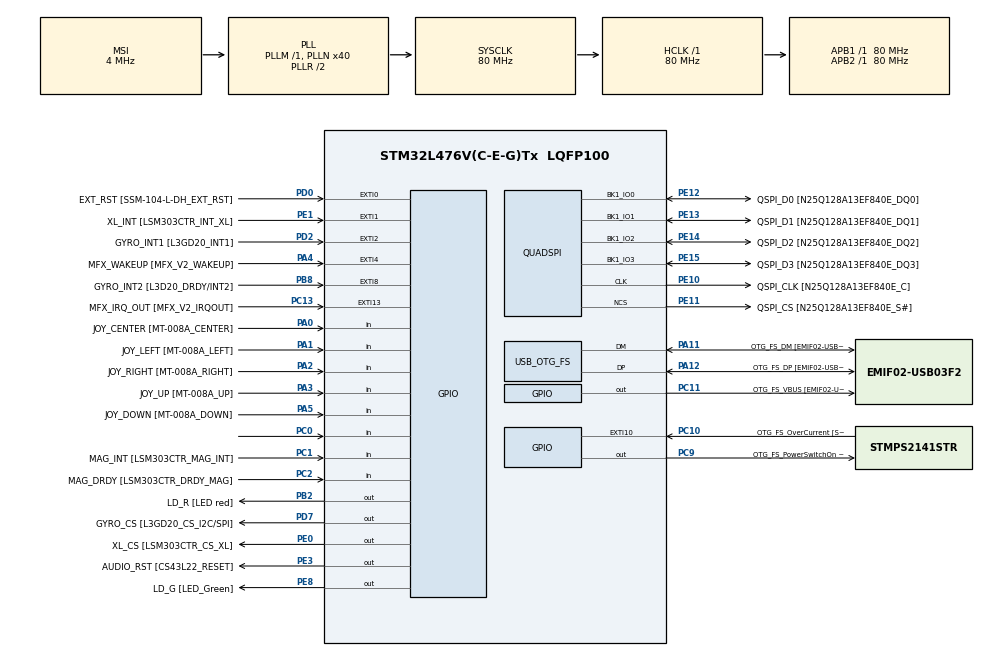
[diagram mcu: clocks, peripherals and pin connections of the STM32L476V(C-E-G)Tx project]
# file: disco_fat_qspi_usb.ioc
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Dma.QUADSPI.0.Direction=DMA_PERIPH_TO_MEMORY
Dma.QUADSPI.0.Instance=DMA1_Channel5
Dma.QUADSPI.0.MemDataAlignment=DMA_MDATAALIGN_WORD
Dma.QUADSPI.0.MemInc=DMA_MINC_ENABLE
Dma.QUADSPI.0.Mode=DMA_NORMAL
Dma.QUADSPI.0.PeriphDataAlignment=DMA_PDATAALIGN_WORD
Dma.QUADSPI.0.PeriphInc=DMA_PINC_DISABLE
Dma.QUADSPI.0.Priority=DMA_PRIORITY_LOW
Dma.Request0=QUADSPI
FATFS._MAX_SS=4096
FATFS._MIN_SS=4096
FATFS._USE_FASTSEEK=0
Mcu.Family=STM32L4
Mcu.Name=STM32L476V(C-E-G)Tx
Mcu.Package=LQFP100
NVIC.DMA1_Channel5_IRQn=true\:0\:0\:false\:false\:true
NVIC.OTG_FS_IRQn=true\:10\:0\:true\:false\:true
NVIC.PriorityGroup=NVIC_PRIORITYGROUP_4
NVIC.QUADSPI_IRQn=true\:1\:0\:true\:false\:true
PA0.GPIO_Label=JOY_CENTER [MT-008A_CENTER]
PA0.GPIO_Mode=GPIO_MODE_INPUT
PA0.GPIO_PuPd=GPIO_PULLDOWN
PA0.Signal=GPIO_Input
PA1.GPIO_Label=JOY_LEFT [MT-008A_LEFT]
PA1.GPIO_Mode=GPIO_MODE_INPUT
PA1.GPIO_PuPd=GPIO_PULLDOWN
PA1.Signal=GPIO_Input
PA10.GPIO_Label=COM2 [GH08172T_COM2]
PA10.GPIO_Mode=GPIO_MODE_AF_PP
PA10.GPIO_PuPd=GPIO_NOPULL
PA10.GPIO_Speed=GPIO_SPEED_FREQ_LOW
PA10.Signal=LCD_COM2
PA11.GPIO_Label=OTG_FS_DM [EMIF02-USB03F2_D-out]
PA11.GPIO_Mode=GPIO_MODE_AF_PP
PA11.GPIO_PuPd=GPIO_NOPULL
PA11.GPIO_Speed=GPIO_SPEED_FREQ_VERY_HIGH
PA11.Mode=Device_Only
PA11.Signal=USB_OTG_FS_DM
PA12.GPIO_Label=OTG_FS_DP [EMIF02-USB03F2_D+out]
PA12.GPIO_Mode=GPIO_MODE_AF_PP
PA12.GPIO_PuPd=GPIO_NOPULL
PA12.GPIO_Speed=GPIO_SPEED_FREQ_VERY_HIGH
PA12.Mode=Device_Only
PA12.Signal=USB_OTG_FS_DP
PA13\ (JTMS-SWDIO).GPIO_Label=SWDIO
PA13\ (JTMS-SWDIO).Mode=Trace_Asynchronous_SW
PA13\ (JTMS-SWDIO).Signal=SYS_JTMS-SWDIO
PA14\ (JTCK-SWCLK).GPIO_Label=SWCLK
PA14\ (JTCK-SWCLK).Mode=Trace_Asynchronous_SW
PA14\ (JTCK-SWCLK).Signal=SYS_JTCK-SWCLK
PA15\ (JTDI).GPIO_Label=SEG10 [GH08172T_SEG10]
PA15\ (JTDI).GPIO_Mode=GPIO_MODE_AF_PP
PA15\ (JTDI).GPIO_PuPd=GPIO_NOPULL
PA15\ (JTDI).GPIO_Speed=GPIO_SPEED_FREQ_LOW
PA15\ (JTDI).Signal=LCD_SEG17
PA2.GPIO_Label=JOY_RIGHT [MT-008A_RIGHT]
PA2.GPIO_Mode=GPIO_MODE_INPUT
PA2.GPIO_PuPd=GPIO_PULLDOWN
PA2.Signal=GPIO_Input
PA3.GPIO_Label=JOY_UP [MT-008A_UP]
PA3.GPIO_Mode=GPIO_MODE_INPUT
PA3.GPIO_PuPd=GPIO_PULLDOWN
PA3.Signal=GPIO_Input
PA4.GPIO_Label=MFX_WAKEUP [MFX_V2_WAKEUP]
PA4.GPIO_ModeDefaultEXTI=GPIO_MODE_EVT_RISING
PA4.GPIO_PuPd=GPIO_NOPULL
PA4.Signal=GPXTI4
PA5.GPIO_Label=JOY_DOWN [MT-008A_DOWN]
PA5.GPIO_Mode=GPIO_MODE_INPUT
PA5.GPIO_PuPd=GPIO_PULLDOWN
PA5.Signal=GPIO_Input
PA6.GPIO_Label=SEG23 [GH08172T_SEG23]
PA6.GPIO_Mode=GPIO_MODE_AF_PP
PA6.GPIO_PuPd=GPIO_NOPULL
PA6.GPIO_Speed=GPIO_SPEED_FREQ_LOW
PA6.Signal=LCD_SEG3
PA7.GPIO_Label=SEG0 [GH08172T_SEG0]
PA7.GPIO_Mode=GPIO_MODE_AF_PP
PA7.GPIO_PuPd=GPIO_NOPULL
PA7.GPIO_Speed=GPIO_SPEED_FREQ_LOW
PA7.Signal=LCD_SEG4
PA8.GPIO_Label=COM0 [GH08172T_COM0]
PA8.GPIO_Mode=GPIO_MODE_AF_PP
PA8.GPIO_PuPd=GPIO_NOPULL
PA8.GPIO_Speed=GPIO_SPEED_FREQ_LOW
PA8.Signal=LCD_COM0
PA9.GPIO_Label=COM1 [GH08172T_COM1]
PA9.GPIO_Mode=GPIO_MODE_AF_PP
PA9.GPIO_PuPd=GPIO_NOPULL
PA9.GPIO_Speed=GPIO_SPEED_FREQ_LOW
PA9.Signal=LCD_COM1
PB0.GPIO_Label=SEG21 [GH08172T_SEG21]
PB0.GPIO_Mode=GPIO_MODE_AF_PP
PB0.GPIO_PuPd=GPIO_NOPULL
PB0.GPIO_Speed=GPIO_SPEED_FREQ_LOW
PB0.Signal=LCD_SEG5
PB1.GPIO_Label=SEG2 [GH08172T_SEG2]
PB1.GPIO_Mode=GPIO_MODE_AF_PP
PB1.GPIO_PuPd=GPIO_NOPULL
PB1.GPIO_Speed=GPIO_SPEED_FREQ_LOW
PB1.Signal=LCD_SEG6
PB10.GPIO_Label=MFX_I2C_SLC [MFX_V2_I2C_SCL]
PB10.GPIO_Mode=GPIO_MODE_AF_OD
PB10.GPIO_PuPdOD=GPIO_PULLUP
PB10.GPIO_Speed=GPIO_SPEED_FREQ_VERY_HIGH
PB10.Signal=I2C2_SCL
PB11.GPIO_Label=MFX_I2C_SDA [MFX_V2_I2C_SDA]
PB11.GPIO_Mode=GPIO_MODE_AF_OD
PB11.GPIO_PuPdOD=GPIO_PULLUP
PB11.GPIO_Speed=GPIO_SPEED_FREQ_VERY_HIGH
PB11.Signal=I2C2_SDA
PB12.GPIO_Label=SEG20 [GH08172T_SEG20]
PB12.GPIO_Mode=GPIO_MODE_AF_PP
PB12.GPIO_PuPd=GPIO_NOPULL
PB12.GPIO_Speed=GPIO_SPEED_FREQ_LOW
PB12.Signal=LCD_SEG12
PB13.GPIO_Label=SEG3 [GH08172T_SEG3]
PB13.GPIO_Mode=GPIO_MODE_AF_PP
PB13.GPIO_PuPd=GPIO_NOPULL
PB13.GPIO_Speed=GPIO_SPEED_FREQ_LOW
PB13.Signal=LCD_SEG13
PB14.GPIO_Label=SEG19 [GH08172T_SEG19]
PB14.GPIO_Mode=GPIO_MODE_AF_PP
PB14.GPIO_PuPd=GPIO_NOPULL
PB14.GPIO_Speed=GPIO_SPEED_FREQ_LOW
PB14.Signal=LCD_SEG14
PB15.GPIO_Label=SEG4 [GH08172T_SEG4]
PB15.GPIO_Mode=GPIO_MODE_AF_PP
PB15.GPIO_PuPd=GPIO_NOPULL
PB15.GPIO_Speed=GPIO_SPEED_FREQ_LOW
PB15.Signal=LCD_SEG15
PB2.GPIO_Label=LD_R [LED red]
PB2.GPIO_ModeDefaultOutputPP=GPIO_MODE_OUTPUT_PP
PB2.GPIO_PuPd=GPIO_PULLUP
PB2.GPIO_Speed=GPIO_SPEED_FREQ_VERY_HIGH
PB2.Signal=GPIO_Output
PB3\ (JTDO-TRACESWO).Mode=Trace_Asynchronous_SW
PB3\ (JTDO-TRACESWO).Signal=SYS_JTDO-SWO
PB4\ (NJTRST).GPIO_Label=SEG11 [GH08172T_SEG11]
PB4\ (NJTRST).GPIO_Mode=GPIO_MODE_AF_PP
PB4\ (NJTRST).GPIO_PuPd=GPIO_NOPULL
PB4\ (NJTRST).GPIO_Speed=GPIO_SPEED_FREQ_LOW
PB4\ (NJTRST).Signal=LCD_SEG8
PB5.GPIO_Label=SEG12 [GH08172T_SEG12]
PB5.GPIO_Mode=GPIO_MODE_AF_PP
PB5.GPIO_PuPd=GPIO_NOPULL
PB5.GPIO_Speed=GPIO_SPEED_FREQ_LOW
PB5.Signal=LCD_SEG9
PB6.GPIO_FM6=__NULL
PB6.GPIO_Label=I2C1_SCL [SSM-104-L-DH_SCL]
PB6.GPIO_Mode=GPIO_MODE_AF_OD
PB6.GPIO_PuPdOD=GPIO_PULLUP
PB6.GPIO_Speed=GPIO_SPEED_FREQ_VERY_HIGH
PB6.Signal=I2C1_SCL
PB7.GPIO_FM7=__NULL
PB7.GPIO_Label=I2C1_SDA [SSM-104-L-DH_SDA]
PB7.GPIO_Mode=GPIO_MODE_AF_OD
PB7.GPIO_PuPdOD=GPIO_PULLUP
PB7.GPIO_Speed=GPIO_SPEED_FREQ_VERY_HIGH
PB7.Signal=I2C1_SDA
PB8.GPIO_Label=GYRO_INT2 [L3D20_DRDY/INT2]
PB8.GPIO_ModeDefaultEXTI=GPIO_MODE_EVT_RISING
PB8.GPIO_PuPd=GPIO_NOPULL
PB8.Signal=GPXTI8
PB9.GPIO_FM9=__NULL
PB9.GPIO_Label=COM3 [GH08172T_COM3]
PB9.GPIO_Mode=GPIO_MODE_AF_PP
PB9.GPIO_PuPd=GPIO_NOPULL
PB9.GPIO_Speed=GPIO_SPEED_FREQ_LOW
PB9.Signal=LCD_COM3
PC0.Signal=GPIO_Input
PC1.GPIO_Label=MAG_INT [LSM303CTR_MAG_INT]
PC1.GPIO_Mode=GPIO_MODE_INPUT
PC1.GPIO_PuPd=GPIO_NOPULL
PC1.Signal=GPIO_Input
PC10.GPIO_Label=OTG_FS_OverCurrent [STMPS2141STR_FAULT]
PC10.GPIO_ModeDefaultEXTI=GPIO_MODE_EVT_RISING
PC10.GPIO_PuPd=GPIO_NOPULL
PC10.Signal=GPXTI10
PC11.GPIO_Label=OTG_FS_VBUS [EMIF02-USB03F2_Vbus]
PC11.GPIO_ModeDefaultOutputPP=GPIO_MODE_OUTPUT_PP
PC11.GPIO_PuPd=GPIO_NOPULL
PC11.GPIO_Speed=GPIO_SPEED_FREQ_LOW
PC11.Signal=GPIO_Output
PC13.GPIO_Label=MFX_IRQ_OUT [MFX_V2_IRQOUT]
PC13.GPIO_ModeDefaultEXTI=GPIO_MODE_EVT_RISING
PC13.GPIO_PuPd=GPIO_NOPULL
PC13.Signal=GPXTI13
PC14-OSC32_IN\ (PC14).Signal=RCC_OSC32_IN
PC15-OSC32_OUT\ (PC15).Signal=RCC_OSC32_OUT
PC2.GPIO_Label=MAG_DRDY [LSM303CTR_DRDY_MAG]
PC2.GPIO_Mode=GPIO_MODE_INPUT
PC2.GPIO_PuPd=GPIO_NOPULL
PC2.Signal=GPIO_Input
PC3.GPIO_Label=VLCD
PC3.GPIO_Mode=GPIO_MODE_AF_PP
PC3.GPIO_PuPd=GPIO_NOPULL
PC3.GPIO_Speed=GPIO_SPEED_FREQ_LOW
PC3.Signal=LCD_VLCD
PC4.GPIO_Label=SEG22 [GH08172T_SEG22]
PC4.GPIO_Mode=GPIO_MODE_AF_PP
PC4.GPIO_PuPd=GPIO_NOPULL
PC4.GPIO_Speed=GPIO_SPEED_FREQ_LOW
PC4.Signal=LCD_SEG22
PC5.GPIO_Label=SEG1 [GH08172T_SEG1]
PC5.GPIO_Mode=GPIO_MODE_AF_PP
PC5.GPIO_PuPd=GPIO_NOPULL
PC5.GPIO_Speed=GPIO_SPEED_FREQ_LOW
PC5.Signal=LCD_SEG23
PC6.GPIO_Label=SEG14 [GH08172T_SEG14]
PC6.GPIO_Mode=GPIO_MODE_AF_PP
PC6.GPIO_PuPd=GPIO_NOPULL
PC6.GPIO_Speed=GPIO_SPEED_FREQ_LOW
PC6.Signal=LCD_SEG24
PC7.GPIO_Label=SEG9 [GH08172T_SEG9]
PC7.GPIO_Mode=GPIO_MODE_AF_PP
PC7.GPIO_PuPd=GPIO_NOPULL
PC7.GPIO_Speed=GPIO_SPEED_FREQ_LOW
PC7.Signal=LCD_SEG25
PC8.GPIO_Label=SEG13 [GH08172T_SEG13]
PC8.GPIO_Mode=GPIO_MODE_AF_PP
PC8.GPIO_PuPd=GPIO_NOPULL
PC8.GPIO_Speed=GPIO_SPEED_FREQ_LOW
PC8.Signal=LCD_SEG26
PC9.GPIO_Label=OTG_FS_PowerSwitchOn [STMPS2141STR_EN]
PC9.GPIO_ModeDefaultOutputPP=GPIO_MODE_OUTPUT_PP
PC9.GPIO_PuPd=GPIO_NOPULL
PC9.GPIO_Speed=GPIO_SPEED_FREQ_LOW
PC9.PinState=GPIO_PIN_SET
PC9.Signal=GPIO_Output
PD0.GPIO_Label=EXT_RST [SSM-104-L-DH_EXT_RST]
PD0.GPIO_ModeDefaultEXTI=GPIO_MODE_EVT_RISING
PD0.GPIO_PuPd=GPIO_NOPULL
PD0.Signal=GPXTI0
PD1.GPIO_Label=MEMS_SCK [L3GD20_SCL/SPC]
PD1.GPIO_Mode=GPIO_MODE_AF_PP
PD1.GPIO_PuPd=GPIO_NOPULL
PD1.GPIO_Speed=GPIO_SPEED_FREQ_VERY_HIGH
PD1.Signal=SPI2_SCK
PD10.GPIO_Label=SEG17 [GH08172T_SEG17]
PD10.GPIO_Mode=GPIO_MODE_AF_PP
PD10.GPIO_PuPd=GPIO_NOPULL
PD10.GPIO_Speed=GPIO_SPEED_FREQ_LOW
PD10.Signal=LCD_SEG30
PD11.GPIO_Label=SEG6 [GH08172T_SEG6]
PD11.GPIO_Mode=GPIO_MODE_AF_PP
PD11.GPIO_PuPd=GPIO_NOPULL
PD11.GPIO_Speed=GPIO_SPEED_FREQ_LOW
PD11.Signal=LCD_SEG31
PD12.GPIO_Label=SEG16 [GH08172T_SEG16]
PD12.GPIO_Mode=GPIO_MODE_AF_PP
PD12.GPIO_PuPd=GPIO_NOPULL
PD12.GPIO_Speed=GPIO_SPEED_FREQ_LOW
PD12.Signal=LCD_SEG32
PD13.GPIO_Label=SEG7 [GH08172T_SEG7]
PD13.GPIO_Mode=GPIO_MODE_AF_PP
PD13.GPIO_PuPd=GPIO_NOPULL
PD13.GPIO_Speed=GPIO_SPEED_FREQ_LOW
PD13.Signal=LCD_SEG33
PD14.GPIO_Label=SEG15 [GH08172T_SEG15]
PD14.GPIO_Mode=GPIO_MODE_AF_PP
PD14.GPIO_PuPd=GPIO_NOPULL
PD14.GPIO_Speed=GPIO_SPEED_FREQ_LOW
PD14.Signal=LCD_SEG34
PD15.GPIO_Label=SEG8 [GH08172T_SEG8]
PD15.GPIO_Mode=GPIO_MODE_AF_PP
PD15.GPIO_PuPd=GPIO_NOPULL
PD15.GPIO_Speed=GPIO_SPEED_FREQ_LOW
PD15.Signal=LCD_SEG35
PD2.GPIO_Label=GYRO_INT1 [L3GD20_INT1]
PD2.GPIO_ModeDefaultEXTI=GPIO_MODE_EVT_RISING
PD2.GPIO_PuPd=GPIO_NOPULL
PD2.Signal=GPXTI2
PD3.GPIO_Label=MEMS_MISO [L3GD20_SA0/SDO]
PD3.GPIO_Mode=GPIO_MODE_AF_PP
PD3.GPIO_PuPd=GPIO_NOPULL
PD3.GPIO_Speed=GPIO_SPEED_FREQ_VERY_HIGH
PD3.Signal=SPI2_MISO
PD4.GPIO_Label=MEMS_MOSI [L3GD20_SDA/SDI/SDO]
PD4.GPIO_Mode=GPIO_MODE_AF_PP
PD4.GPIO_PuPd=GPIO_NOPULL
PD4.GPIO_Speed=GPIO_SPEED_FREQ_VERY_HIGH
PD4.Signal=SPI2_MOSI
PD5.GPIO_Label=USART_TX
PD5.GPIO_Mode=GPIO_MODE_AF_PP
PD5.GPIO_PuPd=GPIO_PULLUP
PD5.GPIO_Speed=GPIO_SPEED_FREQ_VERY_HIGH
PD5.Signal=USART2_TX
PD6.GPIO_Label=USART_RX
PD6.GPIO_Mode=GPIO_MODE_AF_PP
PD6.GPIO_PuPd=GPIO_PULLUP
PD6.GPIO_Speed=GPIO_SPEED_FREQ_VERY_HIGH
PD6.Signal=USART2_RX
PD7.GPIO_Label=GYRO_CS [L3GD20_CS_I2C/SPI]
PD7.GPIO_ModeDefaultOutputPP=GPIO_MODE_OUTPUT_PP
PD7.GPIO_PuPd=GPIO_NOPULL
PD7.GPIO_Speed=GPIO_SPEED_FREQ_VERY_HIGH
PD7.Signal=GPIO_Output
PD8.GPIO_Label=SEG18 [GH08172T_SEG18]
PD8.GPIO_Mode=GPIO_MODE_AF_PP
PD8.GPIO_PuPd=GPIO_NOPULL
PD8.GPIO_Speed=GPIO_SPEED_FREQ_LOW
PD8.Signal=LCD_SEG28
PD9.GPIO_Label=SEG5 [GH08172T_SEG5]
PD9.GPIO_Mode=GPIO_MODE_AF_PP
PD9.GPIO_PuPd=GPIO_NOPULL
PD9.GPIO_Speed=GPIO_SPEED_FREQ_LOW
PD9.Signal=LCD_SEG29
PE0.GPIO_Label=XL_CS [LSM303CTR_CS_XL]
PE0.GPIO_ModeDefaultOutputPP=GPIO_MODE_OUTPUT_PP
PE0.GPIO_PuPd=GPIO_NOPULL
PE0.GPIO_Speed=GPIO_SPEED_FREQ_LOW
PE0.Signal=GPIO_Output
PE1.GPIO_Label=XL_INT [LSM303CTR_INT_XL]
PE1.GPIO_ModeDefaultEXTI=GPIO_MODE_EVT_RISING
PE1.GPIO_PuPd=GPIO_NOPULL
PE1.Signal=GPXTI1
PE10.GPIO_Label=QSPI_CLK [N25Q128A13EF840E_C]
PE10.GPIO_Mode=GPIO_MODE_AF_PP
PE10.GPIO_PuPd=GPIO_NOPULL
PE10.GPIO_Speed=GPIO_SPEED_FREQ_VERY_HIGH
PE10.Mode=Single Bank
PE10.Signal=QUADSPI_CLK
PE11.GPIO_Label=QSPI_CS [N25Q128A13EF840E_S\#]
PE11.GPIO_Mode=GPIO_MODE_AF_PP
PE11.GPIO_PuPd=GPIO_NOPULL
PE11.GPIO_Speed=GPIO_SPEED_FREQ_VERY_HIGH
PE11.Mode=Single Bank
PE11.Signal=QUADSPI_NCS
PE12.GPIO_Label=QSPI_D0 [N25Q128A13EF840E_DQ0]
PE12.GPIO_Mode=GPIO_MODE_AF_PP
PE12.GPIO_PuPd=GPIO_NOPULL
PE12.GPIO_Speed=GPIO_SPEED_FREQ_VERY_HIGH
PE12.Mode=Single Bank
PE12.Signal=QUADSPI_BK1_IO0
PE13.GPIO_Label=QSPI_D1 [N25Q128A13EF840E_DQ1]
PE13.GPIO_Mode=GPIO_MODE_AF_PP
PE13.GPIO_PuPd=GPIO_NOPULL
PE13.GPIO_Speed=GPIO_SPEED_FREQ_VERY_HIGH
PE13.Mode=Single Bank
PE13.Signal=QUADSPI_BK1_IO1
PE14.GPIO_Label=QSPI_D2 [N25Q128A13EF840E_DQ2]
PE14.GPIO_Mode=GPIO_MODE_AF_PP
PE14.GPIO_PuPd=GPIO_NOPULL
PE14.GPIO_Speed=GPIO_SPEED_FREQ_VERY_HIGH
PE14.Mode=Single Bank
PE14.Signal=QUADSPI_BK1_IO2
PE15.GPIO_Label=QSPI_D3 [N25Q128A13EF840E_DQ3]
PE15.GPIO_Mode=GPIO_MODE_AF_PP
PE15.GPIO_PuPd=GPIO_NOPULL
PE15.GPIO_Speed=GPIO_SPEED_FREQ_VERY_HIGH
PE15.Mode=Single Bank
PE15.Signal=QUADSPI_BK1_IO3
PE2.GPIO_Label=SAI1_MCK [CS43L22_MCLK]
PE2.GPIO_Mode=GPIO_MODE_AF_PP
PE2.GPIO_PuPd=GPIO_NOPULL
PE2.GPIO_Speed=GPIO_SPEED_FREQ_VERY_HIGH
PE2.Signal=SAI1_MCLK_A
PE3.GPIO_Label=AUDIO_RST [CS43L22_RESET]
PE3.GPIO_ModeDefaultOutputPP=GPIO_MODE_OUTPUT_PP
PE3.GPIO_PuPd=GPIO_NOPULL
PE3.GPIO_Speed=GPIO_SPEED_FREQ_HIGH
PE3.Signal=GPIO_Output
PE4.GPIO_Label=SAI1_FS [CS43L22_LRCK]
PE4.GPIO_Mode=GPIO_MODE_AF_PP
PE4.GPIO_PuPd=GPIO_NOPULL
PE4.GPIO_Speed=GPIO_SPEED_FREQ_VERY_HIGH
PE4.Signal=SAI1_FS_A
PE5.GPIO_Label=SAI1_SCK [CS43L22_SCLK]
PE5.GPIO_Mode=GPIO_MODE_AF_PP
PE5.GPIO_PuPd=GPIO_NOPULL
PE5.GPIO_Speed=GPIO_SPEED_FREQ_VERY_HIGH
PE5.Signal=SAI1_SCK_A
PE6.GPIO_Label=SAI1_SD [CS43L22_SDIN]
PE6.GPIO_Mode=GPIO_MODE_AF_PP
PE6.GPIO_PuPd=GPIO_NOPULL
PE6.GPIO_Speed=GPIO_SPEED_FREQ_VERY_HIGH
PE6.Signal=SAI1_SD_A
PE7.GPIO_Label=AUDIO_DIN [MP34DT01_DOUT]
PE7.GPIO_Mode=GPIO_MODE_AF_PP
PE7.GPIO_PuPd=GPIO_NOPULL
PE7.GPIO_Speed=GPIO_SPEED_FREQ_VERY_HIGH
PE7.Signal=SAI1_SD_B
PE8.GPIO_Label=LD_G [LED_Green]
PE8.GPIO_ModeDefaultOutputPP=GPIO_MODE_OUTPUT_PP
PE8.GPIO_PuPd=GPIO_PULLUP
PE8.GPIO_Speed=GPIO_SPEED_FREQ_VERY_HIGH
PE8.Signal=GPIO_Output
PE9.GPIO_Label=AUDIO_CLK [MP34DT01_CLK]
PE9.GPIO_Mode=GPIO_MODE_AF_PP
PE9.GPIO_PuPd=GPIO_NOPULL
PE9.GPIO_Speed=GPIO_SPEED_FREQ_LOW
PE9.Signal=SAI1_FS_B
PH0-OSC_IN\ (PH0).Signal=RCC_OSC_IN
PH1-OSC_OUT\ (PH1).Signal=RCC_OSC_OUT
ProjectManager.HeapSize=0x200
ProjectManager.StackSize=0x400
ProjectManager.TargetToolchain=SW4STM32
QUADSPI.ClockPrescaler-Single\ Bank=0
QUADSPI.FifoThreshold-Single\ Bank=4
QUADSPI.FlashSize-Single\ Bank=23
RCC.ADCFreq_Value=48000000
RCC.AHBFreq_Value=80000000
RCC.APB1Freq_Value=80000000
RCC.APB1TimFreq_Value=80000000
RCC.APB2Freq_Value=80000000
RCC.APB2TimFreq_Value=80000000
RCC.CortexFreq_Value=80000000
RCC.HCLKFreq_Value=80000000
RCC.HSE_VALUE=8000000
RCC.HSI_VALUE=16000000
RCC.LSE_VALUE=32768
RCC.MSI_VALUE=4000000
RCC.PLLN=40
RCC.PLLSAI1N=24
RCC.PREFETCH_ENABLE=1
RCC.SYSCLKFreq_VALUE=80000000
RCC.SYSCLKSource=RCC_SYSCLKSOURCE_PLLCLK
RCC.USBFreq_Value=48000000
RCC.VCOOutputFreq_Value=160000000
USB_DEVICE.CLASS_NAME_FS=MSC
USB_DEVICE.MSC_MEDIA_PACKET=4096
USB_DEVICE.VirtualMode=Msc
USB_DEVICE.VirtualModeFS=Msc_FS
USB_OTG_FS.VirtualMode=Device_Only
USB_OTG_FS.vbus_sensing_enable=DISABLE
VP_FATFS_VS_Generic.Mode=User_defined
VP_USB_DEVICE_VS_USB_DEVICE_MSC_FS.Mode=MSC_FS
board=STM32L476G-DISCO

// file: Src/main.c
/**
 ******************************************************************************
 * File Name          : main.c
 * Description        : Main program body
 ******************************************************************************
 * This notice applies to any and all portions of this file
 * that are not between comment pairs USER CODE BEGIN and
 * USER CODE END. Other portions of this file, whether
 * inserted by the user or by software development tools
 * are owned by their respective copyright owners.
 *
 * Copyright (c) 2017 STMicroelectronics International N.V.
 * All rights reserved.
 *
 * Redistribution and use in source and binary forms, with or without
 * modification, are permitted, provided that the following conditions are met:
 *
 * 1. Redistribution of source code must retain the above copyright notice,
 *    this list of conditions and the following disclaimer.
 * 2. Redistributions in binary form must reproduce the above copyright notice,
 *    this list of conditions and the following disclaimer in the documentation
 *    and/or other materials provided with the distribution.
 * 3. Neither the name of STMicroelectronics nor the names of other
 *    contributors to this software may be used to endorse or promote products
 *    derived from this software without specific written permission.
 * 4. This software, including modifications and/or derivative works of this
 *    software, must execute solely and exclusively on microcontroller or
 *    microprocessor devices manufactured by or for STMicroelectronics.
 * 5. Redistribution and use of this software other than as permitted under
 *    this license is void and will automatically terminate your rights under
 *    this license.
 *
 * THIS SOFTWARE IS PROVIDED BY STMICROELECTRONICS AND CONTRIBUTORS "AS IS"
 * AND ANY EXPRESS, IMPLIED OR STATUTORY WARRANTIES, INCLUDING, BUT NOT
 * LIMITED TO, THE IMPLIED WARRANTIES OF MERCHANTABILITY, FITNESS FOR A
 * PARTICULAR PURPOSE AND NON-INFRINGEMENT OF THIRD PARTY INTELLECTUAL PROPERTY
 * RIGHTS ARE DISCLAIMED TO THE FULLEST EXTENT PERMITTED BY LAW. IN NO EVENT
 * SHALL STMICROELECTRONICS OR CONTRIBUTORS BE LIABLE FOR ANY DIRECT, INDIRECT,
 * INCIDENTAL, SPECIAL, EXEMPLARY, OR CONSEQUENTIAL DAMAGES (INCLUDING, BUT NOT
 * LIMITED TO, PROCUREMENT OF SUBSTITUTE GOODS OR SERVICES; LOSS OF USE, DATA,
 * OR PROFITS; OR BUSINESS INTERRUPTION) HOWEVER CAUSED AND ON ANY THEORY OF
 * LIABILITY, WHETHER IN CONTRACT, STRICT LIABILITY, OR TORT (INCLUDING
 * NEGLIGENCE OR OTHERWISE) ARISING IN ANY WAY OUT OF THE USE OF THIS SOFTWARE,
 * EVEN IF ADVISED OF THE POSSIBILITY OF SUCH DAMAGE.
 *
 ******************************************************************************
 */
#include "main.h"
#include "stm32l4xx_hal.h"
#include "fatfs.h"
#include "usb_device.h"

/* USER CODE BEGIN Includes */
#include "fat_qspi_drv.h"

/* USER CODE END Includes */

QSPI_HandleTypeDef hqspi;
DMA_HandleTypeDef hdma_quadspi;

/* USER CODE BEGIN PV */
/* Private variables ---------------------------------------------------------*/
FATFS QSPIFatFs;  /* File system object for SD card logical drive */
char QSPIPath[4]; /* SD card logical drive path */

/* USER CODE END PV */

void SystemClock_Config(void);
static void MX_GPIO_Init(void);
static void MX_DMA_Init(void);
static void MX_QUADSPI_Init(void);

/* USER CODE BEGIN PFP */
/* Private function prototypes -----------------------------------------------*/
//extern void initialise_monitor_handles(void);
/* USER CODE END PFP */

int main(void)
{

	/* MCU Configuration----------------------------------------------------------*/

	/* Reset of all peripherals, Initializes the Flash interface and the Systick. */
	HAL_Init();

	/* Configure the system clock */
	SystemClock_Config();

	/* Initialize all configured peripherals */
	MX_GPIO_Init();
	MX_DMA_Init();
	//MX_FATFS_Init();
	MX_USB_DEVICE_Init();
	MX_QUADSPI_Init();

	/* USER CODE BEGIN 2 */
	//enable semihosting
	//initialise_monitor_handles();

	__enable_irq();

	FRESULT res;

	//##-1- Link the micro SD disk I/O driver ##################################
	HAL_GPIO_WritePin(GPIOE,GPIO_PIN_8,GPIO_PIN_RESET);
	HAL_GPIO_WritePin(GPIOB,GPIO_PIN_2,GPIO_PIN_RESET);

	uint32_t blink_period = 500;
	FILINFO file_info;
	DIR root_dir;
	FIL file;
	char filename[20];
	memset(filename,0,sizeof(filename));
	//printf("Linking FS\n");
	if(FATFS_LinkDriver(&QSPI_Driver, QSPIPath) == 0)
	{
		HAL_GPIO_WritePin(GPIOB,GPIO_PIN_2,GPIO_PIN_SET);
		//##-2- Register the file system object to the FatFs module ##############
		//printf("Mounting FS\n");
		if((res=f_mount(&QSPIFatFs, (TCHAR const*)QSPIPath, 1)) != FR_OK)
		{
			//FatFs Initialization Error
			//printf("error %d\n",(uint8_t)res);
			Error_Handler();
		}
		else
		{
			//printf("FAT mounted as %s\n",QSPIPath);
			if(!check_qspi_avaliable())
			{
				//printf("QSPI check failed\n");
				Error_Handler();
			}
			else
			{
				//printf("QSPI check OK\n");
			}
			HAL_GPIO_WritePin(GPIOB, GPIO_PIN_2, GPIO_PIN_RESET);

			//open directory
			//printf("Opening root dir\n");

			if( (res=f_opendir(&root_dir, (const TCHAR*)"/")) != FR_OK)
			{
				//printf("error %d\n",(uint8_t)res);
				Error_Handler();
			}

			//read all items in directory
			//printf("Read files in root dir\n");
			uint8_t file_found = 0;

			while(1)
			{
				if(f_readdir(&root_dir, &file_info) != FR_OK)
				{
					Error_Handler();
				}
				if(strlen(file_info.fname) == 0)
					break;
				//printf("Found file %s\n",file_info.fname);
				const char *config_name = "CONFIG.TXT";
				if(!strncmp(file_info.fname,config_name, strlen(config_name)))
				{
					file_found = 1;
					//set file path
					filename[0] = '/';
					strncpy(&filename[1], file_info.fname, strlen(file_info.fname));
				}

			}
			if((res=f_closedir(&root_dir)) != FR_OK)
			{
				//printf("Dir close error %d\n",(uint8_t)res);
				Error_Handler();
			}
			//printf("Root dir read OK\n");
			if(!file_found)
			{
				//printf("No files to read\n");
			}
			else
			{
				//open last found file
				//printf("Opening file %s\n",filename);
				char line[100];
				if((res = f_open(&file, filename, FA_READ)) != FR_OK)
				{
					//printf("File open failed, error %d\n",res);
					Error_Handler();
				}
				//read all file
				while (f_gets(line, sizeof(line), &file)) {
					//printf(line);
					int32_t num = atoi(line);
					if(num > 0 && num < 10000)
					{
						//printf("Setting blink period to %d\n", num);
						blink_period = num;
					}
				}
				//close file
				f_close(&file);
				//printf("\n");
				//printf("File closed\n");
			}

		}
	}
	else
	{
		Error_Handler();
	}

	/*##-11- Unlink the RAM disk I/O driver ####################################*/

	/* USER CODE END 2 */

	/* Infinite loop */
	while (1)
	{

		/* USER CODE BEGIN 3 */
		HAL_GPIO_TogglePin(GPIOE,GPIO_PIN_8);
		HAL_Delay(blink_period);
	}
	/* USER CODE END 3 */

}

/** System Clock Configuration
 */
void SystemClock_Config(void)
{

	RCC_OscInitTypeDef RCC_OscInitStruct;
	RCC_ClkInitTypeDef RCC_ClkInitStruct;
	RCC_PeriphCLKInitTypeDef PeriphClkInit;

	/**Initializes the CPU, AHB and APB busses clocks
	 */
	RCC_OscInitStruct.OscillatorType = RCC_OSCILLATORTYPE_MSI;
	RCC_OscInitStruct.MSIState = RCC_MSI_ON;
	RCC_OscInitStruct.MSICalibrationValue = 0;
	RCC_OscInitStruct.MSIClockRange = RCC_MSIRANGE_6;
	RCC_OscInitStruct.PLL.PLLState = RCC_PLL_ON;
	RCC_OscInitStruct.PLL.PLLSource = RCC_PLLSOURCE_MSI;
	RCC_OscInitStruct.PLL.PLLM = 1;
	RCC_OscInitStruct.PLL.PLLN = 40;
	RCC_OscInitStruct.PLL.PLLP = RCC_PLLP_DIV7;
	RCC_OscInitStruct.PLL.PLLQ = RCC_PLLQ_DIV2;
	RCC_OscInitStruct.PLL.PLLR = RCC_PLLR_DIV2;
	if (HAL_RCC_OscConfig(&RCC_OscInitStruct) != HAL_OK)
	{
		_Error_Handler(__FILE__, __LINE__);
	}

	/**Initializes the CPU, AHB and APB busses clocks
	 */
	RCC_ClkInitStruct.ClockType = RCC_CLOCKTYPE_HCLK|RCC_CLOCKTYPE_SYSCLK
			|RCC_CLOCKTYPE_PCLK1|RCC_CLOCKTYPE_PCLK2;
	RCC_ClkInitStruct.SYSCLKSource = RCC_SYSCLKSOURCE_PLLCLK;
	RCC_ClkInitStruct.AHBCLKDivider = RCC_SYSCLK_DIV1;
	RCC_ClkInitStruct.APB1CLKDivider = RCC_HCLK_DIV1;
	RCC_ClkInitStruct.APB2CLKDivider = RCC_HCLK_DIV1;

	if (HAL_RCC_ClockConfig(&RCC_ClkInitStruct, FLASH_LATENCY_4) != HAL_OK)
	{
		_Error_Handler(__FILE__, __LINE__);
	}

	PeriphClkInit.PeriphClockSelection = RCC_PERIPHCLK_USB;
	PeriphClkInit.UsbClockSelection = RCC_USBCLKSOURCE_PLLSAI1;
	PeriphClkInit.PLLSAI1.PLLSAI1Source = RCC_PLLSOURCE_MSI;
	PeriphClkInit.PLLSAI1.PLLSAI1M = 1;
	PeriphClkInit.PLLSAI1.PLLSAI1N = 24;
	PeriphClkInit.PLLSAI1.PLLSAI1P = RCC_PLLP_DIV7;
	PeriphClkInit.PLLSAI1.PLLSAI1Q = RCC_PLLQ_DIV2;
	PeriphClkInit.PLLSAI1.PLLSAI1R = RCC_PLLR_DIV2;
	PeriphClkInit.PLLSAI1.PLLSAI1ClockOut = RCC_PLLSAI1_48M2CLK;
	if (HAL_RCCEx_PeriphCLKConfig(&PeriphClkInit) != HAL_OK)
	{
		_Error_Handler(__FILE__, __LINE__);
	}

	/**Configure the main internal regulator output voltage
	 */
	if (HAL_PWREx_ControlVoltageScaling(PWR_REGULATOR_VOLTAGE_SCALE1) != HAL_OK)
	{
		_Error_Handler(__FILE__, __LINE__);
	}

	/**Configure the Systick interrupt time
	 */
	HAL_SYSTICK_Config(HAL_RCC_GetHCLKFreq()/1000);

	/**Configure the Systick
	 */
	HAL_SYSTICK_CLKSourceConfig(SYSTICK_CLKSOURCE_HCLK);

	/* SysTick_IRQn interrupt configuration */
	HAL_NVIC_SetPriority(SysTick_IRQn, 0, 0);
}

/* QUADSPI init function */
static void MX_QUADSPI_Init(void)
{

	hqspi.Instance = QUADSPI;
	hqspi.Init.ClockPrescaler = 0;
	hqspi.Init.FifoThreshold = 4;
	hqspi.Init.SampleShifting = QSPI_SAMPLE_SHIFTING_NONE;
	hqspi.Init.FlashSize = 23;
	hqspi.Init.ChipSelectHighTime = QSPI_CS_HIGH_TIME_1_CYCLE;
	hqspi.Init.ClockMode = QSPI_CLOCK_MODE_0;
	if (HAL_QSPI_Init(&hqspi) != HAL_OK)
	{
		_Error_Handler(__FILE__, __LINE__);
	}

}

static void MX_DMA_Init(void)
{
	/* DMA controller clock enable */
	__HAL_RCC_DMA1_CLK_ENABLE();

	/* DMA interrupt init */
	/* DMA1_Channel5_IRQn interrupt configuration */
	HAL_NVIC_SetPriority(DMA1_Channel5_IRQn, 0, 0);
	HAL_NVIC_EnableIRQ(DMA1_Channel5_IRQn);

}

/** Configure pins
     PE2   ------> SAI1_MCLK_A
     PE4   ------> SAI1_FS_A
     PE5   ------> SAI1_SCK_A
     PE6   ------> SAI1_SD_A
     PC3   ------> LCD_VLCD
     PA6   ------> LCD_SEG3
     PA7   ------> LCD_SEG4
     PC4   ------> LCD_SEG22
     PC5   ------> LCD_SEG23
     PB0   ------> LCD_SEG5
     PB1   ------> LCD_SEG6
     PE7   ------> SAI1_SD_B
     PE9   ------> SAI1_FS_B
     PB10   ------> I2C2_SCL
     PB11   ------> I2C2_SDA
     PB12   ------> LCD_SEG12
     PB13   ------> LCD_SEG13
     PB14   ------> LCD_SEG14
     PB15   ------> LCD_SEG15
     PD8   ------> LCD_SEG28
     PD9   ------> LCD_SEG29
     PD10   ------> LCD_SEG30
     PD11   ------> LCD_SEG31
     PD12   ------> LCD_SEG32
     PD13   ------> LCD_SEG33
     PD14   ------> LCD_SEG34
     PD15   ------> LCD_SEG35
     PC6   ------> LCD_SEG24
     PC7   ------> LCD_SEG25
     PC8   ------> LCD_SEG26
     PA8   ------> LCD_COM0
     PA9   ------> LCD_COM1
     PA10   ------> LCD_COM2
     PA15 (JTDI)   ------> LCD_SEG17
     PD1   ------> SPI2_SCK
     PD3   ------> SPI2_MISO
     PD4   ------> SPI2_MOSI
     PD5   ------> USART2_TX
     PD6   ------> USART2_RX
     PB4 (NJTRST)   ------> LCD_SEG8
     PB5   ------> LCD_SEG9
     PB6   ------> I2C1_SCL
     PB7   ------> I2C1_SDA
     PB9   ------> LCD_COM3
 */
static void MX_GPIO_Init(void)
{

	GPIO_InitTypeDef GPIO_InitStruct;

	/* GPIO Ports Clock Enable */
	__HAL_RCC_GPIOE_CLK_ENABLE();
	__HAL_RCC_GPIOC_CLK_ENABLE();
	__HAL_RCC_GPIOH_CLK_ENABLE();
	__HAL_RCC_GPIOA_CLK_ENABLE();
	__HAL_RCC_GPIOB_CLK_ENABLE();
	__HAL_RCC_GPIOD_CLK_ENABLE();

	/*Configure GPIO pin Output Level */
	HAL_GPIO_WritePin(GPIOE, AUDIO_RST_Pin|LD_G_Pin|XL_CS_Pin, GPIO_PIN_RESET);

	/*Configure GPIO pin Output Level */
	HAL_GPIO_WritePin(LD_R_GPIO_Port, LD_R_Pin, GPIO_PIN_RESET);

	/*Configure GPIO pin Output Level */
	HAL_GPIO_WritePin(OTG_FS_PowerSwitchOn_GPIO_Port, OTG_FS_PowerSwitchOn_Pin, GPIO_PIN_SET);

	/*Configure GPIO pin Output Level */
	HAL_GPIO_WritePin(OTG_FS_VBUS_GPIO_Port, OTG_FS_VBUS_Pin, GPIO_PIN_RESET);

	/*Configure GPIO pin Output Level */
	HAL_GPIO_WritePin(GYRO_CS_GPIO_Port, GYRO_CS_Pin, GPIO_PIN_RESET);

	/*Configure GPIO pins : SAI1_MCK_Pin SAI1_FS_Pin SAI1_SCK_Pin SAI1_SD_Pin
                           AUDIO_DIN_Pin */
	GPIO_InitStruct.Pin = SAI1_MCK_Pin|SAI1_FS_Pin|SAI1_SCK_Pin|SAI1_SD_Pin
			|AUDIO_DIN_Pin;
	GPIO_InitStruct.Mode = GPIO_MODE_AF_PP;
	GPIO_InitStruct.Pull = GPIO_NOPULL;
	GPIO_InitStruct.Speed = GPIO_SPEED_FREQ_VERY_HIGH;
	GPIO_InitStruct.Alternate = GPIO_AF13_SAI1;
	HAL_GPIO_Init(GPIOE, &GPIO_InitStruct);

	/*Configure GPIO pin : AUDIO_RST_Pin */
	GPIO_InitStruct.Pin = AUDIO_RST_Pin;
	GPIO_InitStruct.Mode = GPIO_MODE_OUTPUT_PP;
	GPIO_InitStruct.Pull = GPIO_NOPULL;
	GPIO_InitStruct.Speed = GPIO_SPEED_FREQ_HIGH;
	HAL_GPIO_Init(AUDIO_RST_GPIO_Port, &GPIO_InitStruct);

	/*Configure GPIO pins : MFX_IRQ_OUT_Pin OTG_FS_OverCurrent_Pin */
	GPIO_InitStruct.Pin = MFX_IRQ_OUT_Pin|OTG_FS_OverCurrent_Pin;
	GPIO_InitStruct.Mode = GPIO_MODE_EVT_RISING;
	GPIO_InitStruct.Pull = GPIO_NOPULL;
	HAL_GPIO_Init(GPIOC, &GPIO_InitStruct);

	/*Configure GPIO pins : PC0 MAG_INT_Pin MAG_DRDY_Pin */
	GPIO_InitStruct.Pin = GPIO_PIN_0|MAG_INT_Pin|MAG_DRDY_Pin;
	GPIO_InitStruct.Mode = GPIO_MODE_INPUT;
	GPIO_InitStruct.Pull = GPIO_NOPULL;
	HAL_GPIO_Init(GPIOC, &GPIO_InitStruct);

	/*Configure GPIO pins : VLCD_Pin SEG22_Pin SEG1_Pin SEG14_Pin
                           SEG9_Pin SEG13_Pin */
	GPIO_InitStruct.Pin = VLCD_Pin|SEG22_Pin|SEG1_Pin|SEG14_Pin
			|SEG9_Pin|SEG13_Pin;
	GPIO_InitStruct.Mode = GPIO_MODE_AF_PP;
	GPIO_InitStruct.Pull = GPIO_NOPULL;
	GPIO_InitStruct.Speed = GPIO_SPEED_FREQ_LOW;
	GPIO_InitStruct.Alternate = GPIO_AF11_LCD;
	HAL_GPIO_Init(GPIOC, &GPIO_InitStruct);

	/*Configure GPIO pins : JOY_CENTER_Pin JOY_LEFT_Pin JOY_RIGHT_Pin JOY_UP_Pin
                           JOY_DOWN_Pin */
	GPIO_InitStruct.Pin = JOY_CENTER_Pin|JOY_LEFT_Pin|JOY_RIGHT_Pin|JOY_UP_Pin
			|JOY_DOWN_Pin;
	GPIO_InitStruct.Mode = GPIO_MODE_INPUT;
	GPIO_InitStruct.Pull = GPIO_PULLDOWN;
	HAL_GPIO_Init(GPIOA, &GPIO_InitStruct);

	/*Configure GPIO pin : MFX_WAKEUP_Pin */
	GPIO_InitStruct.Pin = MFX_WAKEUP_Pin;
	GPIO_InitStruct.Mode = GPIO_MODE_EVT_RISING;
	GPIO_InitStruct.Pull = GPIO_NOPULL;
	HAL_GPIO_Init(MFX_WAKEUP_GPIO_Port, &GPIO_InitStruct);

	/*Configure GPIO pins : SEG23_Pin SEG0_Pin COM0_Pin COM1_Pin
                           COM2_Pin SEG10_Pin */
	GPIO_InitStruct.Pin = SEG23_Pin|SEG0_Pin|COM0_Pin|COM1_Pin
			|COM2_Pin|SEG10_Pin;
	GPIO_InitStruct.Mode = GPIO_MODE_AF_PP;
	GPIO_InitStruct.Pull = GPIO_NOPULL;
	GPIO_InitStruct.Speed = GPIO_SPEED_FREQ_LOW;
	GPIO_InitStruct.Alternate = GPIO_AF11_LCD;
	HAL_GPIO_Init(GPIOA, &GPIO_InitStruct);

	/*Configure GPIO pins : SEG21_Pin SEG2_Pin SEG20_Pin SEG3_Pin
                           SEG19_Pin SEG4_Pin SEG11_Pin SEG12_Pin
                           COM3_Pin */
	GPIO_InitStruct.Pin = SEG21_Pin|SEG2_Pin|SEG20_Pin|SEG3_Pin
			|SEG19_Pin|SEG4_Pin|SEG11_Pin|SEG12_Pin
			|COM3_Pin;
	GPIO_InitStruct.Mode = GPIO_MODE_AF_PP;
	GPIO_InitStruct.Pull = GPIO_NOPULL;
	GPIO_InitStruct.Speed = GPIO_SPEED_FREQ_LOW;
	GPIO_InitStruct.Alternate = GPIO_AF11_LCD;
	HAL_GPIO_Init(GPIOB, &GPIO_InitStruct);

	/*Configure GPIO pin : LD_R_Pin */
	GPIO_InitStruct.Pin = LD_R_Pin;
	GPIO_InitStruct.Mode = GPIO_MODE_OUTPUT_PP;
	GPIO_InitStruct.Pull = GPIO_PULLUP;
	GPIO_InitStruct.Speed = GPIO_SPEED_FREQ_VERY_HIGH;
	HAL_GPIO_Init(LD_R_GPIO_Port, &GPIO_InitStruct);

	/*Configure GPIO pin : LD_G_Pin */
	GPIO_InitStruct.Pin = LD_G_Pin;
	GPIO_InitStruct.Mode = GPIO_MODE_OUTPUT_PP;
	GPIO_InitStruct.Pull = GPIO_PULLUP;
	GPIO_InitStruct.Speed = GPIO_SPEED_FREQ_VERY_HIGH;
	HAL_GPIO_Init(LD_G_GPIO_Port, &GPIO_InitStruct);

	/*Configure GPIO pin : AUDIO_CLK_Pin */
	GPIO_InitStruct.Pin = AUDIO_CLK_Pin;
	GPIO_InitStruct.Mode = GPIO_MODE_AF_PP;
	GPIO_InitStruct.Pull = GPIO_NOPULL;
	GPIO_InitStruct.Speed = GPIO_SPEED_FREQ_LOW;
	GPIO_InitStruct.Alternate = GPIO_AF13_SAI1;
	HAL_GPIO_Init(AUDIO_CLK_GPIO_Port, &GPIO_InitStruct);

	/*Configure GPIO pins : MFX_I2C_SLC_Pin MFX_I2C_SDA_Pin */
	GPIO_InitStruct.Pin = MFX_I2C_SLC_Pin|MFX_I2C_SDA_Pin;
	GPIO_InitStruct.Mode = GPIO_MODE_AF_OD;
	GPIO_InitStruct.Pull = GPIO_PULLUP;
	GPIO_InitStruct.Speed = GPIO_SPEED_FREQ_VERY_HIGH;
	GPIO_InitStruct.Alternate = GPIO_AF4_I2C2;
	HAL_GPIO_Init(GPIOB, &GPIO_InitStruct);

	/*Configure GPIO pins : SEG18_Pin SEG5_Pin SEG17_Pin SEG6_Pin
                           SEG16_Pin SEG7_Pin SEG15_Pin SEG8_Pin */
	GPIO_InitStruct.Pin = SEG18_Pin|SEG5_Pin|SEG17_Pin|SEG6_Pin
			|SEG16_Pin|SEG7_Pin|SEG15_Pin|SEG8_Pin;
	GPIO_InitStruct.Mode = GPIO_MODE_AF_PP;
	GPIO_InitStruct.Pull = GPIO_NOPULL;
	GPIO_InitStruct.Speed = GPIO_SPEED_FREQ_LOW;
	GPIO_InitStruct.Alternate = GPIO_AF11_LCD;
	HAL_GPIO_Init(GPIOD, &GPIO_InitStruct);

	/*Configure GPIO pins : OTG_FS_PowerSwitchOn_Pin OTG_FS_VBUS_Pin */
	GPIO_InitStruct.Pin = OTG_FS_PowerSwitchOn_Pin|OTG_FS_VBUS_Pin;
	GPIO_InitStruct.Mode = GPIO_MODE_OUTPUT_PP;
	GPIO_InitStruct.Pull = GPIO_NOPULL;
	GPIO_InitStruct.Speed = GPIO_SPEED_FREQ_LOW;
	HAL_GPIO_Init(GPIOC, &GPIO_InitStruct);

	/*Configure GPIO pins : EXT_RST_Pin GYRO_INT1_Pin */
	GPIO_InitStruct.Pin = EXT_RST_Pin|GYRO_INT1_Pin;
	GPIO_InitStruct.Mode = GPIO_MODE_EVT_RISING;
	GPIO_InitStruct.Pull = GPIO_NOPULL;
	HAL_GPIO_Init(GPIOD, &GPIO_InitStruct);

	/*Configure GPIO pins : MEMS_SCK_Pin MEMS_MISO_Pin MEMS_MOSI_Pin */
	GPIO_InitStruct.Pin = MEMS_SCK_Pin|MEMS_MISO_Pin|MEMS_MOSI_Pin;
	GPIO_InitStruct.Mode = GPIO_MODE_AF_PP;
	GPIO_InitStruct.Pull = GPIO_NOPULL;
	GPIO_InitStruct.Speed = GPIO_SPEED_FREQ_VERY_HIGH;
	GPIO_InitStruct.Alternate = GPIO_AF5_SPI2;
	HAL_GPIO_Init(GPIOD, &GPIO_InitStruct);

	/*Configure GPIO pins : USART_TX_Pin USART_RX_Pin */
	GPIO_InitStruct.Pin = USART_TX_Pin|USART_RX_Pin;
	GPIO_InitStruct.Mode = GPIO_MODE_AF_PP;
	GPIO_InitStruct.Pull = GPIO_PULLUP;
	GPIO_InitStruct.Speed = GPIO_SPEED_FREQ_VERY_HIGH;
	GPIO_InitStruct.Alternate = GPIO_AF7_USART2;
	HAL_GPIO_Init(GPIOD, &GPIO_InitStruct);

	/*Configure GPIO pin : GYRO_CS_Pin */
	GPIO_InitStruct.Pin = GYRO_CS_Pin;
	GPIO_InitStruct.Mode = GPIO_MODE_OUTPUT_PP;
	GPIO_InitStruct.Pull = GPIO_NOPULL;
	GPIO_InitStruct.Speed = GPIO_SPEED_FREQ_VERY_HIGH;
	HAL_GPIO_Init(GYRO_CS_GPIO_Port, &GPIO_InitStruct);

	/*Configure GPIO pins : I2C1_SCL_Pin I2C1_SDA_Pin */
	GPIO_InitStruct.Pin = I2C1_SCL_Pin|I2C1_SDA_Pin;
	GPIO_InitStruct.Mode = GPIO_MODE_AF_OD;
	GPIO_InitStruct.Pull = GPIO_PULLUP;
	GPIO_InitStruct.Speed = GPIO_SPEED_FREQ_VERY_HIGH;
	GPIO_InitStruct.Alternate = GPIO_AF4_I2C1;
	HAL_GPIO_Init(GPIOB, &GPIO_InitStruct);

	/*Configure GPIO pin : GYRO_INT2_Pin */
	GPIO_InitStruct.Pin = GYRO_INT2_Pin;
	GPIO_InitStruct.Mode = GPIO_MODE_EVT_RISING;
	GPIO_InitStruct.Pull = GPIO_NOPULL;
	HAL_GPIO_Init(GYRO_INT2_GPIO_Port, &GPIO_InitStruct);

	/*Configure GPIO pin : XL_CS_Pin */
	GPIO_InitStruct.Pin = XL_CS_Pin;
	GPIO_InitStruct.Mode = GPIO_MODE_OUTPUT_PP;
	GPIO_InitStruct.Pull = GPIO_NOPULL;
	GPIO_InitStruct.Speed = GPIO_SPEED_FREQ_LOW;
	HAL_GPIO_Init(XL_CS_GPIO_Port, &GPIO_InitStruct);

	/*Configure GPIO pin : XL_INT_Pin */
	GPIO_InitStruct.Pin = XL_INT_Pin;
	GPIO_InitStruct.Mode = GPIO_MODE_EVT_RISING;
	GPIO_InitStruct.Pull = GPIO_NOPULL;
	HAL_GPIO_Init(XL_INT_GPIO_Port, &GPIO_InitStruct);

}

void _Error_Handler(char * file, int line)
{
	/* USER CODE BEGIN Error_Handler_Debug */
	__disable_irq();
	/* User can add his own implementation to report the HAL error return state */
	while(1)
	{
		HAL_GPIO_TogglePin(GPIOB, GPIO_PIN_2);
		for(volatile long int i=0;i<100000;i++);
	}
	/* USER CODE END Error_Handler_Debug */
}

/************************ (C) COPYRIGHT STMicroelectronics *****END OF FILE****/
